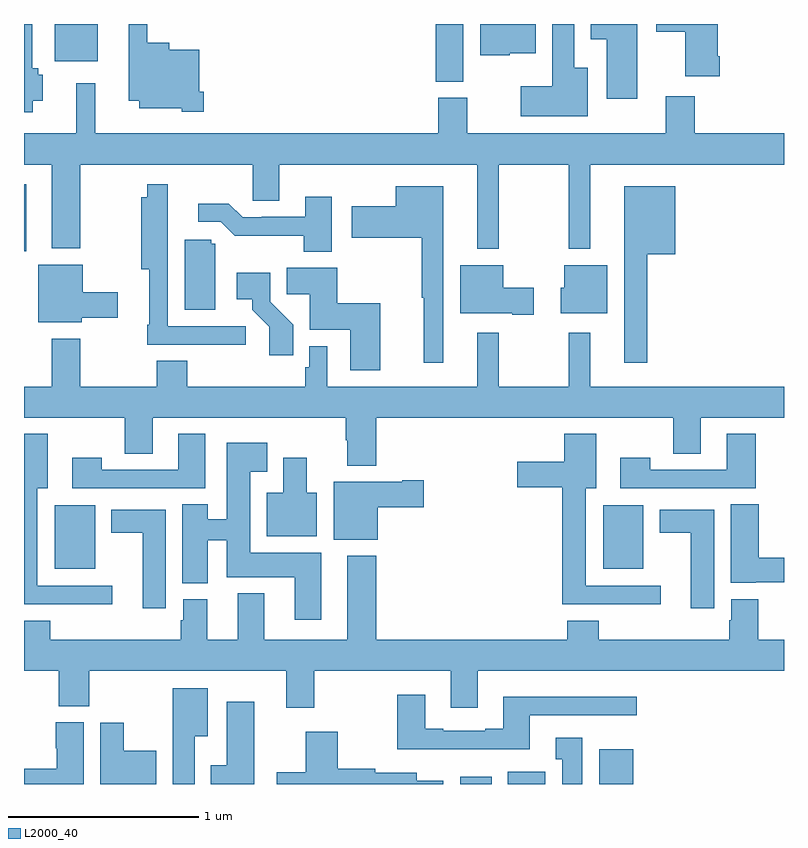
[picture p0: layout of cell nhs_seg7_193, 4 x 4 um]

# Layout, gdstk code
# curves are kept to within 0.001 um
import gdstk
lib = gdstk.Library(unit=1e-6, precision=1e-09)
def R(c, l, rs):  # rectangles x0, y0, x1, y1
    for r in rs: c.add(gdstk.rectangle(r[:2], r[2:], *l))
def P(c, l, *ps):  # polygons
    for p in ps: c.add(gdstk.Polygon(p, *l))
L2000_40 = (2000, 40)

nhs_seg7_193 = lib.new_cell('nhs_seg7_193')
R(nhs_seg7_193, L2000_40, [(127.295,1020,127.462,1020.037), (127.547,1020,127.744,1020.064), (128.027,1020,128.206,1020.184), (125.162,1021.133,125.374,1021.468), (128.048,1021.133,128.26,1021.468), (125,1022.804,125.011,1023.157), (127.166,1023.697,127.312,1024), (125.162,1023.803,125.389,1024)])
P(nhs_seg7_193, L2000_40, [(127.557,1023.845),(127.693,1023.845),(127.693,1024),(127.4,1024),(127.4,1023.836),(127.557,1023.836)],
  [(128.663,1023.829),(128.65,1023.829),(128.65,1024),(128.328,1024),(128.328,1023.958),(128.48,1023.958),(128.48,1023.725),(128.663,1023.725)],
  [(125.046,1023.596),(125.098,1023.596),(125.098,1023.732),(125.076,1023.732),(125.076,1023.767),(125.043,1023.767),(125.043,1024),(125,1024),(125,1023.536),(125.046,1023.536)],
  [(125.945,1023.643),(125.923,1023.643),(125.923,1023.865),(125.764,1023.865),(125.764,1023.901),(125.649,1023.901),(125.649,1024),(125.552,1024),(125.552,1023.596),(125.606,1023.596),(125.606,1023.557),(125.829,1023.557),(125.829,1023.539),(125.945,1023.539)],
  [(127.966,1023.769),(127.897,1023.769),(127.897,1024),(127.781,1024),(127.781,1023.673),(127.614,1023.673),(127.614,1023.515),(127.966,1023.515)],
  [(128.227,1024),(127.982,1024),(127.982,1023.92),(128.066,1023.92),(128.066,1023.606),(128.227,1023.606)],
  [(127.499,1023.26),(127.867,1023.26),(127.867,1022.816),(127.981,1022.816),(127.981,1023.26),(129,1023.26),(129,1023.424),(128.531,1023.424),(128.531,1023.619),(128.378,1023.619),(128.378,1023.424),(127.333,1023.424),(127.333,1023.612),(127.181,1023.612),(127.181,1023.424),(125.376,1023.424),(125.376,1023.688),(125.275,1023.688),(125.275,1023.424),(125,1023.424),(125,1023.26),(125.147,1023.26),(125.147,1022.819),(125.295,1022.819),(125.295,1023.26),(126.204,1023.26),(126.204,1023.07),(126.343,1023.07),(126.343,1023.26),(127.385,1023.26),(127.385,1022.816),(127.499,1022.816)],
  [(126.166,1022.409),(125.757,1022.409),(125.757,1023.157),(125.649,1023.157),(125.649,1023.088),(125.617,1023.088),(125.617,1022.708),(125.66,1022.708),(125.66,1022.416),(125.649,1022.416),(125.649,1022.313),(125.941,1022.313),(125.941,1022.311),(126.166,1022.311)],
  [(128.281,1022.789),(128.428,1022.789),(128.428,1023.145),(128.159,1023.145),(128.159,1022.217),(128.281,1022.217)],
  [(127.207,1023.145),(126.956,1023.145),(126.956,1023.04),(126.726,1023.04),(126.726,1022.875),(127.093,1022.875),(127.093,1022.558),(127.103,1022.558),(127.103,1022.217),(127.207,1022.217)],
  [(126.619,1023.091),(126.479,1023.091),(126.479,1022.985),(126.25,1022.985),(126.25,1022.982),(126.15,1022.982),(126.077,1023.055),(125.916,1023.055),(125.916,1022.958),(126.036,1022.958),(126.109,1022.885),(126.472,1022.886),(126.472,1022.801),(126.619,1022.801)],
  [(126.007,1022.844),(125.985,1022.844),(125.985,1022.865),(125.846,1022.865),(125.846,1022.496),(126.007,1022.496)],
  [(125.304,1022.453),(125.494,1022.453),(125.494,1022.588),(125.308,1022.588),(125.308,1022.734),(125.075,1022.734),(125.075,1022.429),(125.304,1022.429)],
  [(127.684,1022.612),(127.522,1022.612),(127.522,1022.731),(127.295,1022.731),(127.295,1022.477),(127.571,1022.477),(127.571,1022.47),(127.684,1022.47)],
  [(128.071,1022.731),(127.844,1022.731),(127.844,1022.613),(127.826,1022.613),(127.826,1022.477),(128.071,1022.477)],
  [(126.874,1022.53),(126.648,1022.53),(126.648,1022.716),(126.382,1022.716),(126.382,1022.578),(126.503,1022.578),(126.503,1022.39),(126.716,1022.39),(126.716,1022.178),(126.874,1022.178)],
  [(126.416,1022.418),(126.297,1022.537),(126.297,1022.692),(126.12,1022.692),(126.12,1022.552),(126.2,1022.552),(126.2,1022.497),(126.291,1022.407),(126.291,1022.256),(126.416,1022.256)],
  [(126.854,1021.928),(128.416,1021.928),(128.416,1021.738),(128.563,1021.738),(128.563,1021.928),(129,1021.928),(129,1022.092),(127.981,1022.092),(127.981,1022.374),(127.867,1022.374),(127.867,1022.092),(127.499,1022.092),(127.499,1022.374),(127.385,1022.374),(127.385,1022.092),(126.597,1022.092),(126.597,1022.305),(126.501,1022.305),(126.501,1022.193),(126.481,1022.193),(126.481,1022.092),(125.858,1022.092),(125.858,1022.228),(125.698,1022.228),(125.698,1022.092),(125.295,1022.092),(125.295,1022.344),(125.147,1022.344),(125.147,1022.092),(125,1022.092),(125,1021.928),(125.53,1021.928),(125.53,1021.738),(125.677,1021.738),(125.677,1021.928),(126.694,1021.928),(126.694,1021.808),(126.701,1021.808),(126.701,1021.676),(126.854,1021.676)],
  [(128.35,1021.044),(127.957,1021.044),(127.957,1021.556),(128.011,1021.556),(128.011,1021.843),(127.844,1021.843),(127.844,1021.696),(127.596,1021.696),(127.596,1021.562),(127.832,1021.562),(127.832,1020.947),(128.35,1020.947)],
  [(128.852,1021.843),(128.699,1021.843),(128.699,1021.653),(128.295,1021.653),(128.295,1021.717),(128.139,1021.717),(128.139,1021.557),(128.852,1021.557)],
  [(125.464,1021.044),(125.071,1021.044),(125.071,1021.556),(125.125,1021.556),(125.125,1021.843),(125,1021.843),(125,1020.947),(125.464,1020.947)],
  [(125.953,1021.843),(125.813,1021.843),(125.813,1021.653),(125.409,1021.653),(125.409,1021.717),(125.253,1021.717),(125.253,1021.557),(125.953,1021.557)],
  [(126.565,1021.216),(126.19,1021.216),(126.19,1021.643),(126.28,1021.643),(126.28,1021.795),(126.068,1021.795),(126.068,1021.393),(125.968,1021.393),(125.968,1021.472),(125.834,1021.472),(125.834,1021.057),(125.968,1021.057),(125.968,1021.284),(126.068,1021.284),(126.068,1021.088),(126.425,1021.088),(126.425,1020.864),(126.565,1020.864)],
  [(126.541,1021.534),(126.487,1021.534),(126.487,1021.717),(126.365,1021.717),(126.365,1021.534),(126.278,1021.534),(126.278,1021.304),(126.541,1021.304)],
  [(126.862,1021.457),(127.105,1021.457),(127.105,1021.599),(126.992,1021.599),(126.992,1021.591),(126.629,1021.591),(126.629,1021.286),(126.862,1021.286)],
  [(128.85,1021.062),(129,1021.062),(129,1021.19),(128.867,1021.19),(128.867,1021.472),(128.72,1021.472),(128.72,1021.058),(128.85,1021.058)],
  [(128.632,1021.444),(128.345,1021.444),(128.345,1021.322),(128.51,1021.322),(128.51,1020.924),(128.632,1020.924)],
  [(125.746,1021.444),(125.459,1021.444),(125.459,1021.322),(125.624,1021.322),(125.624,1020.924),(125.746,1020.924)],
  [(126.528,1020.596),(127.247,1020.596),(127.247,1020.402),(127.387,1020.402),(127.387,1020.596),(129,1020.596),(129,1020.76),(128.864,1020.76),(128.864,1020.973),(128.723,1020.973),(128.723,1020.861),(128.711,1020.861),(128.711,1020.76),(128.024,1020.76),(128.024,1020.859),(127.859,1020.859),(127.859,1020.76),(126.854,1020.76),(126.854,1021.201),(126.701,1021.201),(126.701,1020.76),(126.265,1020.76),(126.265,1021.003),(126.125,1021.003),(126.125,1020.76),(125.965,1020.76),(125.965,1020.972),(125.837,1020.972),(125.837,1020.861),(125.825,1020.861),(125.825,1020.76),(125.138,1020.76),(125.138,1020.859),(125,1020.859),(125,1020.596),(125.183,1020.596),(125.183,1020.409),(125.343,1020.409),(125.343,1020.596),(126.38,1020.596),(126.38,1020.402),(126.528,1020.402)],
  [(125.899,1020.251),(125.968,1020.251),(125.968,1020.505),(125.783,1020.505),(125.783,1020),(125.899,1020)],
  [(127.663,1020.363),(128.224,1020.363),(128.224,1020.46),(127.523,1020.46),(127.523,1020.292),(127.427,1020.292),(127.427,1020.279),(127.207,1020.279),(127.207,1020.292),(127.111,1020.292),(127.111,1020.469),(126.964,1020.469),(126.964,1020.182),(127.663,1020.182)],
  [(126.211,1020.433),(126.068,1020.433),(126.068,1020.1),(125.984,1020.1),(125.984,1020),(126.211,1020)],
  [(125.314,1020.324),(125.168,1020.324),(125.168,1020.188),(125.173,1020.188),(125.173,1020.08),(125,1020.08),(125,1020),(125.314,1020)],
  [(125.695,1020.175),(125.524,1020.175),(125.524,1020.322),(125.402,1020.322),(125.402,1020),(125.695,1020)],
  [(127.207,1020.016),(127.066,1020.016),(127.066,1020.06),(126.848,1020.06),(126.848,1020.08),(126.65,1020.08),(126.65,1020.274),(126.482,1020.274),(126.482,1020.063),(126.33,1020.063),(126.33,1020),(127.207,1020)],
  [(127.939,1020.244),(127.799,1020.244),(127.799,1020.131),(127.832,1020.131),(127.832,1020),(127.939,1020)])

lib.write_gds('nhs_seg7_193.gds')
